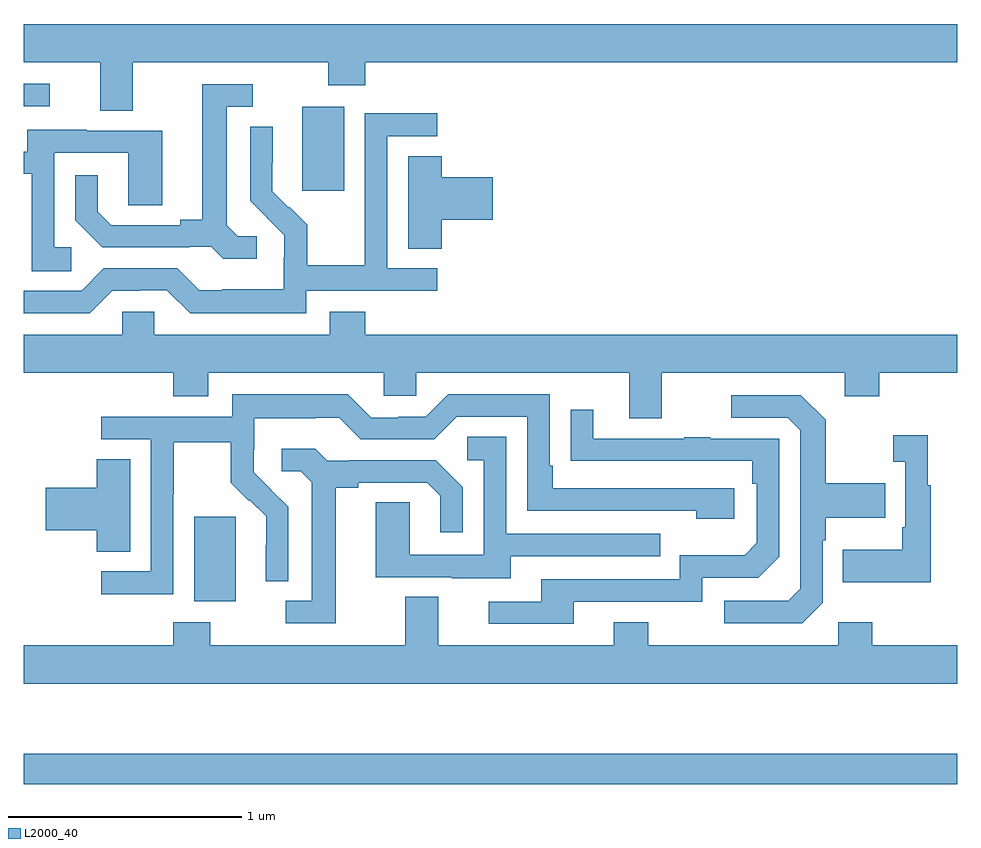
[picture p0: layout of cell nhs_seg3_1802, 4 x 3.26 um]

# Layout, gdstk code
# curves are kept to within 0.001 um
import gdstk
lib = gdstk.Library(unit=1e-6, precision=1e-09)
def R(c, l, rs):  # rectangles x0, y0, x1, y1
    for r in rs: c.add(gdstk.rectangle(r[:2], r[2:], *l))
def P(c, l, *ps):  # polygons
    for p in ps: c.add(gdstk.Polygon(p, *l))
L2000_40 = (2000, 40)

nhs_seg3_1802 = lib.new_cell('nhs_seg3_1802')
R(nhs_seg3_1802, L2000_40, [(203,739.114,207,739.243), (203.729,739.898,203.908,740.259), (204.194,741.657,204.373,742.018), (203,742.02,203.11,742.116)])
P(nhs_seg3_1802, L2000_40, [(203,742.208),(203.327,742.208),(203.327,742),(203.467,742),(203.467,742.208),(204.304,742.208),(204.304,742.109),(204.464,742.109),(204.464,742.208),(207,742.208),(207,742.372),(203,742.372)],
  [(203.998,741.462),(203.916,741.462),(203.869,741.509),(203.869,742.017),(203.98,742.017),(203.98,742.113),(203.765,742.113),(203.765,741.533),(203.669,741.533),(203.669,741.51),(203.374,741.51),(203.317,741.567),(203.317,741.724),(203.22,741.724),(203.22,741.53),(203.336,741.414),(203.708,741.414),(203.708,741.417),(203.802,741.417),(203.854,741.365),(203.998,741.365)],
  [(204.21,741.228),(204.772,741.228),(204.772,741.324),(204.558,741.324),(204.558,741.891),(204.772,741.891),(204.772,741.99),(204.462,741.99),(204.462,741.56),(204.46,741.56),(204.46,741.337),(204.215,741.337),(204.215,741.511),(204.138,741.588),(204.135,741.585),(204.065,741.656),(204.066,741.932),(203.97,741.932),(203.97,741.614),(204.116,741.466),(204.116,741.369),(204.114,741.369),(204.114,741.235),(203.851,741.235),(203.851,741.231),(203.751,741.231),(203.658,741.324),(203.343,741.324),(203.247,741.228),(203,741.228),(203,741.132),(203.283,741.132),(203.379,741.228),(203.498,741.228),(203.498,741.231),(203.613,741.231),(203.713,741.131),(204.21,741.131)],
  [(203.203,741.414),(203.13,741.414),(203.13,741.819),(203.448,741.819),(203.448,741.595),(203.593,741.595),(203.593,741.915),(203.269,741.915),(203.269,741.919),(203.015,741.919),(203.015,741.825),(203,741.825),(203,741.729),(203.034,741.729),(203.034,741.313),(203.203,741.313)],
  [(204.791,741.533),(205.009,741.533),(205.009,741.716),(204.791,741.716),(204.791,741.806),(204.647,741.806),(204.647,741.409),(204.791,741.409)],
  [(203.421,741.138),(203.421,741.04),(203,741.04),(203,740.876),(203.639,740.876),(203.639,740.777),(203.791,740.777),(203.791,740.876),(204.543,740.876),(204.543,740.778),(204.681,740.778),(204.681,740.876),(205.595,740.876),(205.595,740.682),(205.735,740.682),(205.735,740.876),(206.519,740.876),(206.519,740.777),(206.667,740.777),(206.667,740.876),(207,740.876),(207,741.04),(204.464,741.04),(204.464,741.139),(204.311,741.139),(204.311,741.04),(203.559,741.04),(203.559,741.138)],
  [(203.64,740.356),(203.643,740.356),(203.643,740.58),(203.887,740.58),(203.887,740.405),(203.964,740.328),(203.967,740.331),(204.038,740.261),(204.038,740.138),(204.036,740.138),(204.036,739.984),(204.132,739.984),(204.132,740.302),(203.986,740.45),(203.986,740.547),(203.988,740.547),(203.988,740.681),(204.251,740.681),(204.251,740.685),(204.351,740.685),(204.444,740.592),(204.759,740.592),(204.855,740.688),(205.158,740.688),(205.158,740.286),(205.883,740.286),(205.883,740.252),(206.044,740.252),(206.044,740.382),(205.267,740.382),(205.267,740.479),(205.254,740.479),(205.254,740.784),(204.819,740.784),(204.723,740.688),(204.605,740.688),(204.605,740.685),(204.489,740.685),(204.389,740.785),(203.892,740.785),(203.892,740.688),(203.331,740.688),(203.331,740.592),(203.544,740.592),(203.544,740.025),(203.331,740.025),(203.331,739.927),(203.64,739.927)],
  [(206.424,739.89),(206.424,740.159),(206.437,740.159),(206.437,740.255),(206.693,740.255),(206.693,740.403),(206.437,740.403),(206.437,740.675),(206.331,740.781),(206.031,740.781),(206.031,740.685),(206.274,740.685),(206.328,740.631),(206.328,739.95),(206.277,739.899),(206.001,739.899),(206.001,739.803),(206.337,739.803)],
  [(205.357,739.896),(205.908,739.896),(205.908,739.998),(206.148,739.998),(206.238,740.088),(206.238,740.595),(205.943,740.595),(205.943,740.6),(205.831,740.6),(205.831,740.595),(205.441,740.595),(205.441,740.719),(205.345,740.719),(205.345,740.5),(206.122,740.499),(206.122,740.402),(206.142,740.402),(206.142,740.148),(206.089,740.095),(205.812,740.095),(205.812,739.992),(205.217,739.992),(205.217,739.896),(204.993,739.896),(204.993,739.8),(205.357,739.8)],
  [(206.887,740.395),(206.875,740.395),(206.875,740.608),(206.727,740.608),(206.727,740.495),(206.778,740.495),(206.778,740.215),(206.766,740.215),(206.766,740.119),(206.509,740.119),(206.509,739.979),(206.887,739.979)],
  [(205.087,740.091),(205.727,740.091),(205.727,740.187),(205.068,740.187),(205.068,740.603),(204.9,740.603),(204.9,740.502),(204.972,740.502),(204.972,740.097),(204.654,740.097),(204.654,740.321),(204.509,740.321),(204.509,740.001),(204.833,740.001),(204.833,739.997),(205.087,739.997)],
  [(204.337,740.384),(204.433,740.384),(204.433,740.406),(204.728,740.406),(204.785,740.349),(204.785,740.193),(204.882,740.193),(204.882,740.386),(204.766,740.502),(204.394,740.502),(204.394,740.499),(204.3,740.499),(204.248,740.551),(204.105,740.551),(204.105,740.454),(204.186,740.454),(204.233,740.407),(204.233,739.899),(204.123,739.899),(204.123,739.803),(204.337,739.803)],
  [(203.455,740.507),(203.312,740.507),(203.312,740.384),(203.094,740.384),(203.094,740.201),(203.312,740.201),(203.312,740.11),(203.455,740.11)],
  [(207,739.708),(206.637,739.708),(206.637,739.807),(206.49,739.807),(206.49,739.708),(205.677,739.708),(205.677,739.807),(205.529,739.807),(205.529,739.708),(204.775,739.708),(204.775,739.916),(204.635,739.916),(204.635,739.708),(203.799,739.708),(203.799,739.807),(203.639,739.807),(203.639,739.708),(203,739.708),(203,739.544),(207,739.544)])

lib.write_gds('nhs_seg3_1802.gds')
